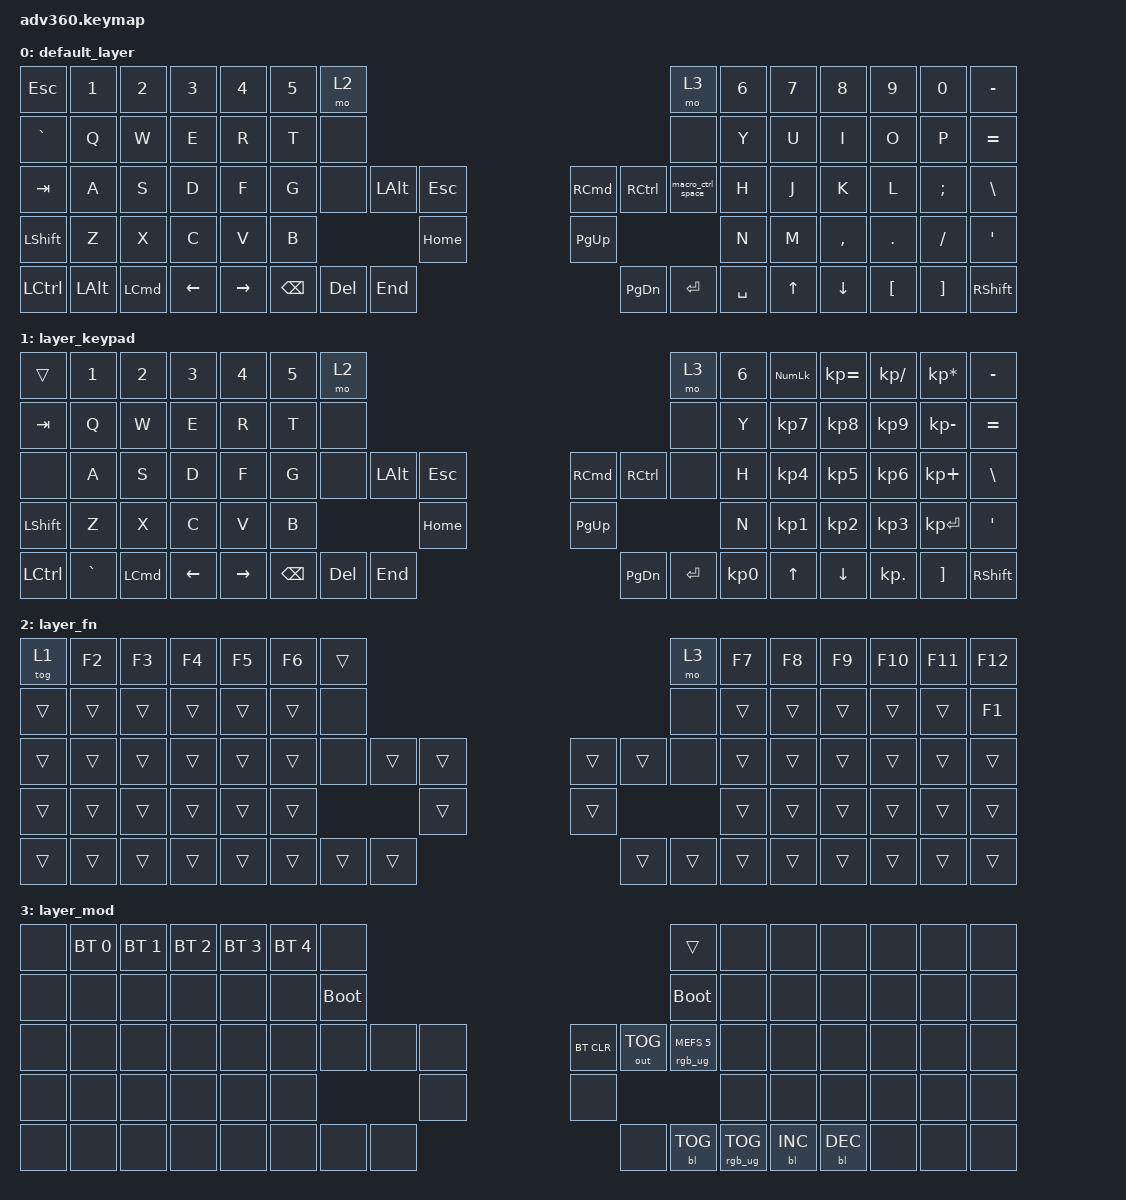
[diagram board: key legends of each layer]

/*
 * Copyright (c) 2020 The ZMK Contributors
 *
 * SPDX-License-Identifier: MIT
 */


/* THIS FILE WAS GENERATED!
 *
 * This file was generated automatically. You may or may not want to
 * edit it directly.
 */

#include <behaviors.dtsi>
#include <dt-bindings/zmk/keys.h>
#include <dt-bindings/zmk/bt.h>
#include <dt-bindings/zmk/outputs.h>
#include <dt-bindings/zmk/rgb.h>
#include <dt-bindings/zmk/backlight.h>

/ {
  behaviors {
    #include "macros.dtsi"
    #include "version.dtsi"

    hm: homerow_mods {
        compatible = "zmk,behavior-hold-tap";
        label = "HOMEROW_MODS";
        #binding-cells = <2>;
        tapping-term-ms = <200>;
        quick_tap_ms = <175>;
        flavor = "tap-preferred";
        bindings = <&kp>, <&kp>;
    };
  };

    keymap {
        compatible = "zmk,keymap";


        default_layer {
            bindings = <
          &kp ESC    &kp N1            &kp N2    &kp N3     &kp N4  &kp N5               &mo 2                                                                                &mo 3  &kp N6  &kp N7     &kp N8    &kp N9    &kp N0         &kp MINUS
        &kp GRAVE     &kp Q             &kp W     &kp E      &kp R   &kp T               &none                                                                                &none   &kp Y   &kp U      &kp I     &kp O     &kp P         &kp EQUAL
          &kp TAB     &kp A             &kp S     &kp D      &kp F   &kp G               &none  &kp LALT   &kp ESC                  &kp RIGHT_COMMAND  &kp RCTRL  &macro_ctrl_space   &kp H   &kp J      &kp K     &kp L  &kp SEMI          &kp BSLH
        &kp LSHFT     &kp Z             &kp X     &kp C      &kp V   &kp B                                &kp HOME                          &kp PG_UP                                 &kp N   &kp M  &kp COMMA   &kp DOT  &kp FSLH  &kp SINGLE_QUOTE
 &kp LEFT_CONTROL  &kp LALT  &kp LEFT_COMMAND  &kp LEFT  &kp RIGHT                    &kp BSPC   &kp DEL   &kp END                          &kp PG_DN  &kp ENTER          &kp SPACE          &kp UP   &kp DOWN  &kp LBKT  &kp RBKT        &kp RSHIFT
            >;
        };

        layer_keypad {
            bindings = <
           &trans     &kp N1            &kp N2    &kp N3     &kp N4  &kp N5               &mo 2                                                                        &mo 3  &kp N6  &kp KP_NUM  &kp KP_EQUAL  &kp KP_DIVIDE  &kp KP_MULTIPLY   &kp MINUS
          &kp TAB      &kp Q             &kp W     &kp E      &kp R   &kp T               &none                                                                        &none   &kp Y   &kp KP_N7     &kp KP_N8      &kp KP_N9     &kp KP_MINUS   &kp EQUAL
            &none      &kp A             &kp S     &kp D      &kp F   &kp G               &none  &kp LALT   &kp ESC                  &kp RIGHT_COMMAND  &kp RCTRL      &none   &kp H   &kp KP_N4     &kp KP_N5      &kp KP_N6      &kp KP_PLUS    &kp BSLH
        &kp LSHFT      &kp Z             &kp X     &kp C      &kp V   &kp B                                &kp HOME                          &kp PG_UP                         &kp N   &kp KP_N1     &kp KP_N2      &kp KP_N3     &kp KP_ENTER     &kp SQT
 &kp LEFT_CONTROL  &kp GRAVE  &kp LEFT_COMMAND  &kp LEFT  &kp RIGHT                    &kp BSPC   &kp DEL   &kp END                          &kp PG_DN  &kp ENTER  &kp KP_N0              &kp UP      &kp DOWN     &kp KP_DOT         &kp RBKT  &kp RSHIFT
            >;
        };

        layer_fn {
            bindings = <
 &tog 1  &kp F2  &kp F3  &kp F4  &kp F5  &kp F6            &trans                                                   &mo 3  &kp F7  &kp F8  &kp F9  &kp F10  &kp F11  &kp F12
 &trans  &trans  &trans  &trans  &trans  &trans             &none                                                   &none  &trans  &trans  &trans   &trans   &trans   &kp F1
 &trans  &trans  &trans  &trans  &trans  &trans             &none  &trans  &trans                  &trans  &trans   &none  &trans  &trans  &trans   &trans   &trans   &trans
 &trans  &trans  &trans  &trans  &trans  &trans                            &trans                  &trans                  &trans  &trans  &trans   &trans   &trans   &trans
 &trans  &trans  &trans  &trans  &trans                    &trans  &trans  &trans                  &trans  &trans  &trans          &trans  &trans   &trans   &trans   &trans
            >;
        };

        layer_mod {
            bindings = <
  &none  &bt BT_SEL 0  &bt BT_SEL 1  &bt BT_SEL 2  &bt BT_SEL 3  &bt BT_SEL 4                  &none                                                                            &trans   &none       &none       &none   &none   &none   &none
  &none         &none         &none         &none         &none         &none            &bootloader                                                                       &bootloader   &none       &none       &none   &none   &none   &none
  &none         &none         &none         &none         &none         &none                  &none   &none   &none                  &bt BT_CLR  &out OUT_TOG  &rgb_ug RGB_MEFS_CMD 5   &none       &none       &none   &none   &none   &none
  &none         &none         &none         &none         &none         &none                                  &none                       &none                                         &none       &none       &none   &none   &none   &none
  &none         &none         &none         &none         &none                                &none   &none   &none                       &none    &bl BL_TOG         &rgb_ug RGB_TOG          &bl BL_INC  &bl BL_DEC   &none   &none   &none
            >;
        };

    };
};
